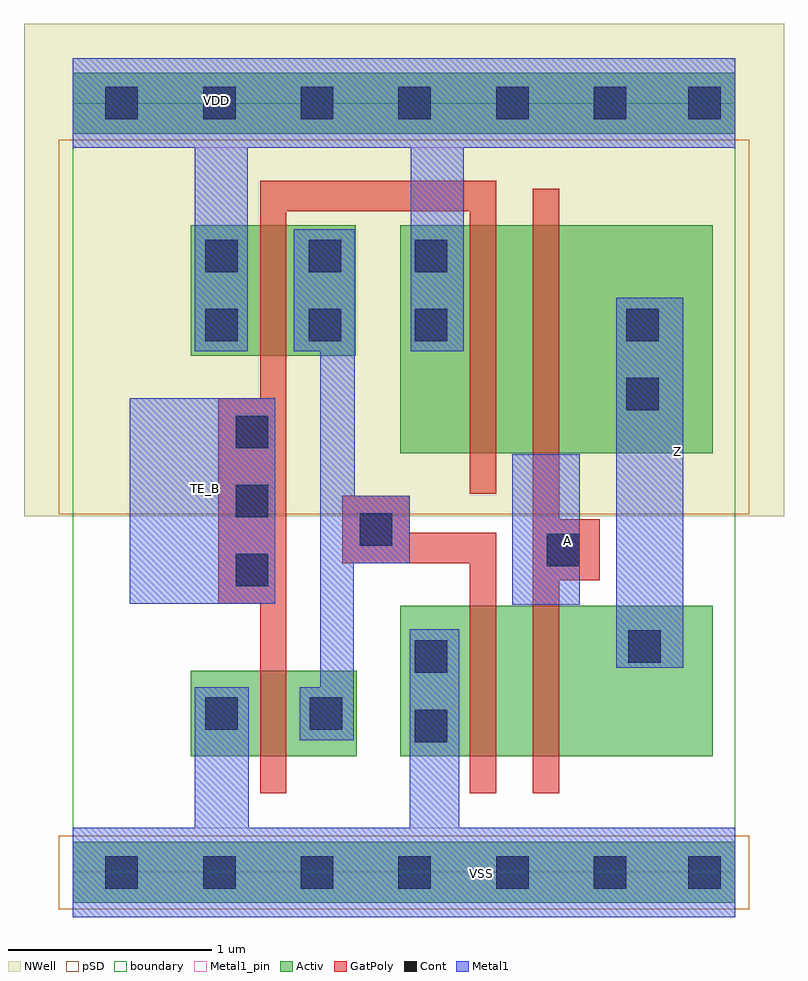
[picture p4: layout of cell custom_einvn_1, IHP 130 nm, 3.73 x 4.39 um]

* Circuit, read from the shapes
.subckt custom_einvn_1 A TE_B VDD VSS Z
XM1 n1 TE_B VSS VSS sg13_lv_nmos w=0.42u l=0.13u
XM2 n2 n1 VSS VSS sg13_lv_nmos w=0.74u l=0.13u
XM3 Z A n2 VSS sg13_lv_nmos w=0.74u l=0.13u
XM4 n1 TE_B VDD VDD sg13_lv_pmos w=0.64u l=0.13u
XM5 n3 TE_B VDD VDD sg13_lv_pmos w=1.12u l=0.13u
XM6 Z A n3 VDD sg13_lv_pmos w=1.12u l=0.13u
.ends

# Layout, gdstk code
import gdstk
lib = gdstk.Library(unit=1e-6, precision=1e-09)
def R(c, l, rs):  # rectangles x0, y0, x1, y1
    for r in rs: c.add(gdstk.rectangle(r[:2], r[2:], *l))
def A(c, l, x, y, w, h, nx, ny, dx, dy):  # array of equal rectangles
    R(c, l, [(x+i*dx, y+j*dy, x+i*dx+w, y+j*dy+h) for i in range(nx) for j in range(ny)])
def P(c, l, *ps):  # polygons
    for p in ps: c.add(gdstk.Polygon(p, *l))
Activ = (1, 0)
GatPoly = (5, 0)
Cont = (6, 0)
Metal1 = (8, 0)
Metal1_pin = (8, 2)
pSD = (14, 0)
NWell = (31, 0)
boundary = (189, 4)

custom_einvn_1 = lib.new_cell('custom_einvn_1')
R(custom_einvn_1, Activ, [(0,-0.15,3.255,0.15), (0.58,0.57,1.395,0.99), (1.61,0.57,3.145,1.31), (1.61,2.06,3.145,3.18), (0.58,2.54,1.39,3.18), (0,3.63,3.255,3.93)])
P(custom_einvn_1, GatPoly, [(2.26,0.39),(2.26,3.36),(2.39,3.36),(2.39,1.735),(2.59,1.735),(2.59,1.435),(2.39,1.435),(2.39,0.39)],
  [(0.92,0.39),(0.92,1.32),(0.715,1.32),(0.715,2.33),(0.92,2.33),(0.92,3.4),(2.08,3.4),(2.08,1.86),(1.95,1.86),(1.95,3.25),(1.05,3.25),(1.05,0.39)],
  [(1.95,0.39),(1.95,1.52),(1.325,1.52),(1.325,1.85),(1.655,1.85),(1.655,1.67),(2.08,1.67),(2.08,0.39)])
A(custom_einvn_1, Cont, 0.16, -0.08, 0.16, 0.16, 6, 2, 0.48, 3.78)
A(custom_einvn_1, Cont, 0.8, 1.405, 0.16, 0.16, 1, 3, 0, 0.34)
R(custom_einvn_1, Cont, [(3.025,-0.08,3.185,0.08), (1.68,0.64,1.84,0.8), (0.65,0.7,0.81,0.86), (1.165,0.7,1.325,0.86), (1.68,0.98,1.84,1.14), (2.73,1.03,2.89,1.19), (2.33,1.505,2.49,1.665), (1.41,1.605,1.57,1.765), (2.72,2.27,2.88,2.43), (0.65,2.61,0.81,2.77), (1.16,2.61,1.32,2.77), (1.68,2.61,1.84,2.77), (2.72,2.61,2.88,2.77), (0.65,2.95,0.81,3.11), (1.16,2.95,1.32,3.11), (1.68,2.95,1.84,3.11), (3.025,3.7,3.185,3.86)])
R(custom_einvn_1, Metal1, [(2.67,1.005,3,2.825), (2.16,1.315,2.49,2.055), (0.28,1.32,0.995,2.33)])
P(custom_einvn_1, Metal1, [(0.6,2.56),(0.6,3.56),(0,3.56),(0,4),(3.255,4),(3.255,3.56),(1.92,3.56),(1.92,2.56),(1.66,2.56),(1.66,3.56),(0.86,3.56),(0.86,2.56)],
  [(0,-0.22),(0,0.22),(0.6,0.22),(0.6,0.91),(0.865,0.91),(0.865,0.22),(1.655,0.22),(1.655,1.195),(1.9,1.195),(1.9,0.22),(3.255,0.22),(3.255,-0.22)],
  [(1.115,0.65),(1.115,0.91),(1.215,0.91),(1.215,2.56),(1.085,2.56),(1.085,3.16),(1.385,3.16),(1.385,1.85),(1.655,1.85),(1.655,1.52),(1.38,1.52),(1.38,0.65)])
R(custom_einvn_1, Metal1_pin, [(0,-0.22,3.255,0.22), (2.67,1.005,3,2.825), (2.16,1.315,2.49,2.055), (0.28,1.32,0.995,2.33), (0,3.56,3.255,4)])
R(custom_einvn_1, pSD, [(-0.07,-0.18,3.325,0.18), (-0.07,1.76,3.325,3.6)])
R(custom_einvn_1, NWell, [(-0.24,1.75,3.495,4.17)])
R(custom_einvn_1, boundary, [(0,0,3.255,3.78)])
custom_einvn_1.add(gdstk.Label('A', (2.43,1.63), layer=8, texttype=25))
custom_einvn_1.add(gdstk.Label('VDD', (0.705,3.795), layer=8, texttype=25))
custom_einvn_1.add(gdstk.Label('TE_B', (0.65,1.885), layer=8, texttype=25))
custom_einvn_1.add(gdstk.Label('VSS', (2.01,-0.005), layer=8, texttype=25))
custom_einvn_1.add(gdstk.Label('Z', (2.97,2.07), layer=8, texttype=25))

lib.write_gds('custom_einvn_1.gds')
